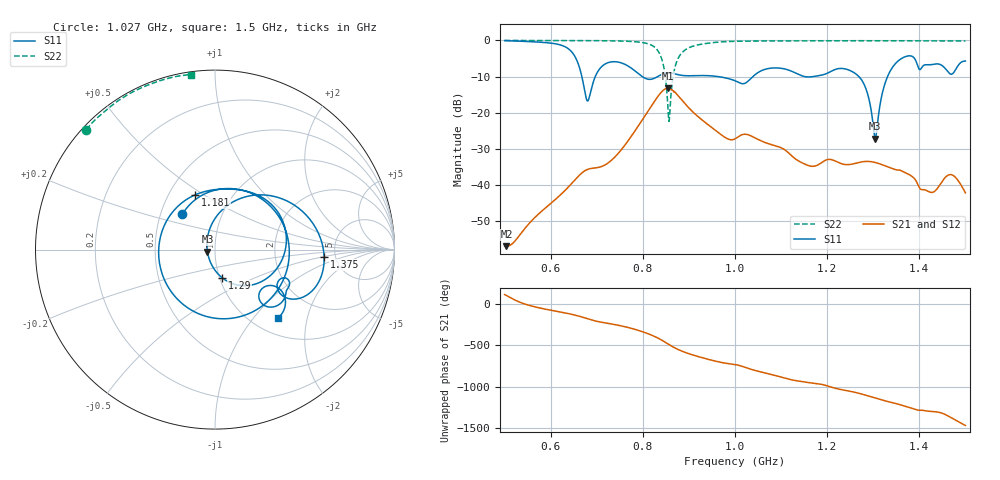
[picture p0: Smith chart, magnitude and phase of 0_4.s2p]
! TOUCHSTONE file generated by CST MICROWAVE STUDIO
! Date and time: Sat Oct 24 10:41:49 2020
! Project name: Scenario_1_Planar_Body_Tissue_Center.cst
! Parameters = {hfat=3; hmuscle=50; hskin=1.5; hgap=25; Wtissue=700; Ltissue=700; L_HA=400; MT=2.54; Rad_Dielectric=30; Rad_Lower=7.3; Rad_Upper=30; a_HA=580; a_WG=246; b_HA=500; b_WG=121; c_HA=0; c_WG=187; d_feed=85; dx1=224.96; h_feed=15; h_lower=18; h_upper=40}
! Header version: 2018
! Port assignment regex: !\s*Touchstone port\s*([0-9]+)\s*=\s*(CST MWS port|CST DS port)\s*([0-9]+|Zmin|Zmax)\s*\(\"(.*)\"\)(\s*mode\s*([0-9]+))?.*
! Touchstone port assignment:
! Touchstone port 1 = CST MWS port 1 ("")
! Touchstone port 2 = CST MWS port 2 ("")
# GHz S DB R 50
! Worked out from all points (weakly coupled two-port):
!   1003 points, 500 MHz to 1.5 GHz, reference 50 ohm
!   highest |S21| = -13.24 dB at 854 MHz (marker M1); lowest = -57.0 dB at 504 MHz (marker M2)
!   lowest |S11| = -27.2 dB at 1.304 GHz (marker M3), VSWR 1.09, Z = 45.9 - j1.02 ohm
!   |S11| at or under -10 dB: 798.6 MHz to 832.2 MHz (33.64 MHz wide, 4.13 % of centre); 962.5 MHz to 1.039 GHz (76.34 MHz wide, 7.63 % of centre); 1.269 GHz to 1.331 GHz (62.35 MHz wide, 4.8 % of centre) (the widest 3 of 5)
!   |S22| runs from -22.4 to 0.0 dB; largest |S21 - S12| = 0.00011
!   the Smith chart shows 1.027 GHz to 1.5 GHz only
!   S11 on the Smith chart (normalised r, x): 1.027 GHz: 0.65, +0.27; 1.181 GHz: 0.68, +0.46; 1.29 GHz: 1.03, -0.33; 1.375 GHz: 4.05, -0.52; 1.5 GHz: 1.30, -1.35
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0.5  -0.05 -122.2  -56.92 118.9  -56.92 118.9  -0.01 151.1
0.504  -0.07 -123.5  -56.99 107.3  -56.99 107.3  -0.01 150.9
0.613  -1.00 174.3  -43.73 -85.1  -43.73 -85.1  -0.02 143.1
0.667  -9.66 65.6  -36.78 -153.5  -36.78 -153.5  -0.04 138.4
0.722  -6.28 175.4  -34.17 130.5  -34.17 130.5  -0.09 132.1
0.793  -9.47 22.7  -23.12 38.6  -23.12 38.6  -0.47 115.9
0.834  -9.87 -118.6  -15.28 -54.1  -15.28 -54.1  -3.13 81.9
0.854  -8.93 176.5  -13.24 -119.6  -13.24 -119.6  -17.59 11.5
0.893  -9.77 86.2  -17.76 133.1  -17.76 133.1  -2.52 171.6
0.943  -9.77 -11.3  -23.48 49.5  -23.48 49.5  -0.74 151.2
1  -11.16 -151.5  -27.26 -12.0  -27.26 -12.0  -0.24 140.5
1.027  -11.42 132.9  -26.08 -55.8  -26.08 -55.8  -0.18 137.0
1.08  -7.65 -3.0  -28.91 -135.1  -28.91 -135.1  -0.13 131.4
1.12  -8.38 -91.4  -31.60 165.0  -31.60 165.0  -0.13 128.1
1.167  -10.05 144.5  -34.87 123.7  -34.87 123.7  -0.10 124.3
1.181  -9.77 109.7  -34.41 114.1  -34.41 114.1  -0.09 123.2
1.237  -7.83 13.1  -34.34 36.1  -34.34 36.1  -0.08 118.9
1.29  -15.85 -75.9  -33.52 -35.9  -33.52 -35.9  -0.08 114.9
1.304  -27.22 -165.3  -33.81 -59.5  -33.81 -59.5  -0.09 113.8
1.334  -9.18 58.7  -35.13 -105.5  -35.13 -105.5  -0.09 111.6
1.375  -4.30 -3.8  -36.97 -168.5  -36.97 -168.5  -0.09 108.4
1.5  -5.71 -47.1  -42.21 -32.9  -42.21 -32.9  -0.14 98.0
